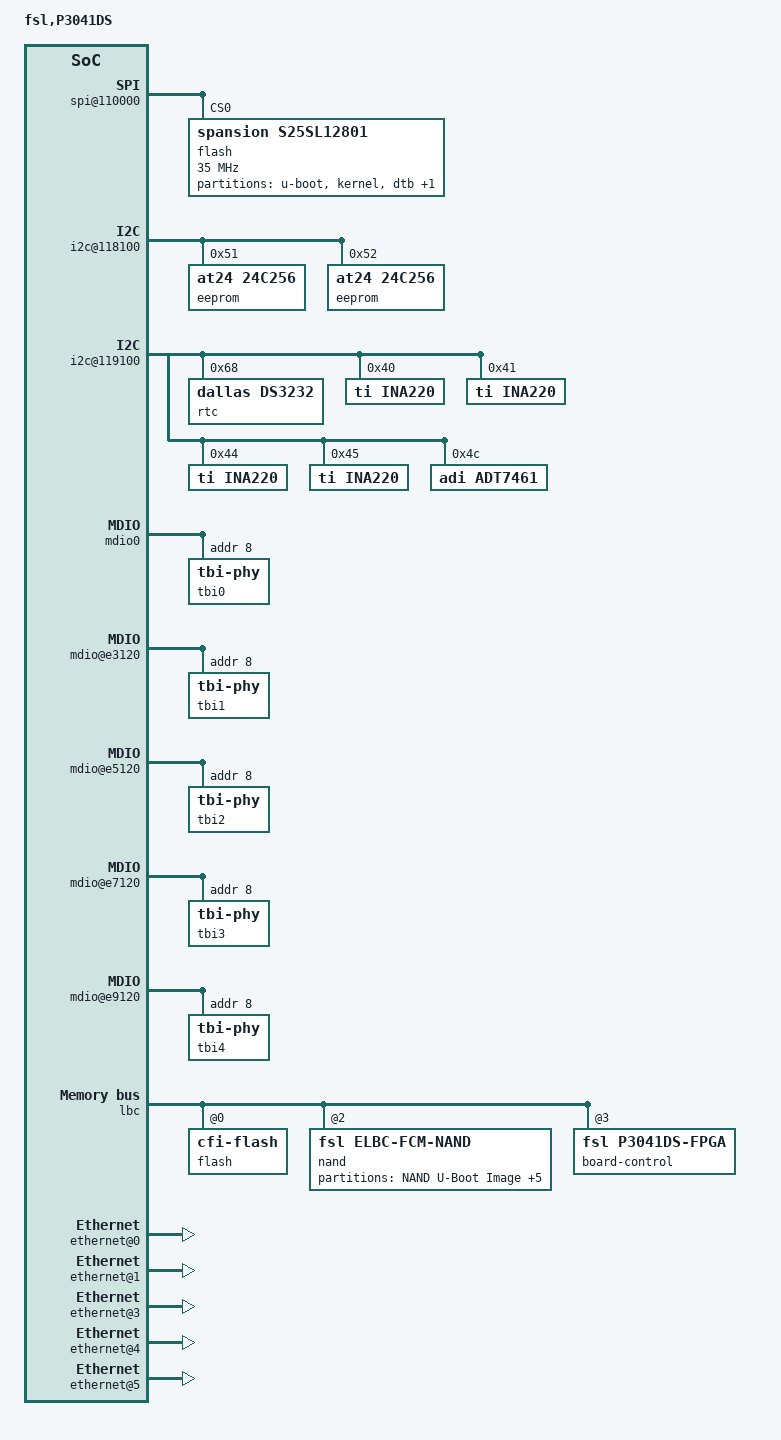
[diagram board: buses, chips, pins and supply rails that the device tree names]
/*
 * P3041DS Device Tree Source
 *
 * Copyright 2010 - 2016 Freescale Semiconductor Inc.
 *
 * Redistribution and use in source and binary forms, with or without
 * modification, are permitted provided that the following conditions are met:
 *     * Redistributions of source code must retain the above copyright
 *	 notice, this list of conditions and the following disclaimer.
 *     * Redistributions in binary form must reproduce the above copyright
 *	 notice, this list of conditions and the following disclaimer in the
 *	 documentation and/or other materials provided with the distribution.
 *     * Neither the name of Freescale Semiconductor nor the
 *	 names of its contributors may be used to endorse or promote products
 *	 derived from this software without specific prior written permission.
 *
 *
 * ALTERNATIVELY, this software may be distributed under the terms of the
 * GNU General Public License ("GPL") as published by the Free Software
 * Foundation, either version 2 of that License or (at your option) any
 * later version.
 *
 * THIS SOFTWARE IS PROVIDED BY Freescale Semiconductor ``AS IS'' AND ANY
 * EXPRESS OR IMPLIED WARRANTIES, INCLUDING, BUT NOT LIMITED TO, THE IMPLIED
 * WARRANTIES OF MERCHANTABILITY AND FITNESS FOR A PARTICULAR PURPOSE ARE
 * DISCLAIMED. IN NO EVENT SHALL Freescale Semiconductor BE LIABLE FOR ANY
 * DIRECT, INDIRECT, INCIDENTAL, SPECIAL, EXEMPLARY, OR CONSEQUENTIAL DAMAGES
 * (INCLUDING, BUT NOT LIMITED TO, PROCUREMENT OF SUBSTITUTE GOODS OR SERVICES;
 * LOSS OF USE, DATA, OR PROFITS; OR BUSINESS INTERRUPTION) HOWEVER CAUSED AND
 * ON ANY THEORY OF LIABILITY, WHETHER IN CONTRACT, STRICT LIABILITY, OR TORT
 * (INCLUDING NEGLIGENCE OR OTHERWISE) ARISING IN ANY WAY OUT OF THE USE OF THIS
 * SOFTWARE, EVEN IF ADVISED OF THE POSSIBILITY OF SUCH DAMAGE.
 */

/include/ "p3041si-pre.dtsi"

/ {
	model = "fsl,P3041DS";
	compatible = "fsl,P3041DS";
	#address-cells = <2>;
	#size-cells = <2>;
	interrupt-parent = <&mpic>;

	aliases {
		ethernet0 = &enet0;
		ethernet1 = &enet1;
		ethernet2 = &enet2;
		ethernet3 = &enet3;
		ethernet4 = &enet4;
		ethernet5 = &enet5;
		phy_rgmii_0 = &phy_rgmii_0;
		phy_rgmii_1 = &phy_rgmii_1;
		phy_sgmii_1c = &phy_sgmii_1c;
		phy_sgmii_1d = &phy_sgmii_1d;
		phy_sgmii_1e = &phy_sgmii_1e;
		phy_sgmii_1f = &phy_sgmii_1f;
		phy_xgmii_1 = &phy_xgmii_1;
		phy_xgmii_2 = &phy_xgmii_2;
		emi1_rgmii = &hydra_mdio_rgmii;
		emi1_sgmii = &hydra_mdio_sgmii;
		emi2_xgmii = &hydra_mdio_xgmii;
	};

	memory {
		device_type = "memory";
	};

	reserved-memory {
		#address-cells = <2>;
		#size-cells = <2>;
		ranges;

		bman_fbpr: bman-fbpr {
			size = <0 0x1000000>;
			alignment = <0 0x1000000>;
		};
		qman_fqd: qman-fqd {
			size = <0 0x800000>;
			alignment = <0 0x800000>;
		};
		qman_pfdr: qman-pfdr {
			size = <0 0x2000000>;
			alignment = <0 0x2000000>;
		};
	};

	dcsr: dcsr@f00000000 {
		ranges = <0x00000000 0xf 0x00000000 0x01008000>;
	};

	bportals: bman-portals@ff4000000 {
		ranges = <0x0 0xf 0xf4000000 0x200000>;
	};

	qportals: qman-portals@ff4200000 {
		ranges = <0x0 0xf 0xf4200000 0x200000>;
	};

	soc: soc@ffe000000 {
		ranges = <0x00000000 0xf 0xfe000000 0x1000000>;
		reg = <0xf 0xfe000000 0 0x00001000>;
		spi@110000 {
			flash@0 {
				#address-cells = <1>;
				#size-cells = <1>;
				compatible = "spansion,s25sl12801", "jedec,spi-nor";
				reg = <0>;
				spi-max-frequency = <35000000>; /* input clock */
				partition@u-boot {
					label = "u-boot";
					reg = <0x00000000 0x00100000>;
					read-only;
				};
				partition@kernel {
					label = "kernel";
					reg = <0x00100000 0x00500000>;
					read-only;
				};
				partition@dtb {
					label = "dtb";
					reg = <0x00600000 0x00100000>;
					read-only;
				};
				partition@fs {
					label = "file system";
					reg = <0x00700000 0x00900000>;
				};
			};
		};

		i2c@118100 {
			eeprom@51 {
				compatible = "at24,24c256";
				reg = <0x51>;
			};
			eeprom@52 {
				compatible = "at24,24c256";
				reg = <0x52>;
			};
		};

		i2c@119100 {
			rtc@68 {
				compatible = "dallas,ds3232";
				reg = <0x68>;
				interrupts = <0x1 0x1 0 0>;
			};
			ina220@40 {
				compatible = "ti,ina220";
				reg = <0x40>;
				shunt-resistor = <1000>;
			};
			ina220@41 {
				compatible = "ti,ina220";
				reg = <0x41>;
				shunt-resistor = <1000>;
			};
			ina220@44 {
				compatible = "ti,ina220";
				reg = <0x44>;
				shunt-resistor = <1000>;
			};
			ina220@45 {
				compatible = "ti,ina220";
				reg = <0x45>;
				shunt-resistor = <1000>;
			};
			adt7461@4c {
				compatible = "adi,adt7461";
				reg = <0x4c>;
			};
		};

		fman0: fman@400000 {
			enet0: ethernet@e0000 {
				tbi-handle = <&tbi0>;
				phy-handle = <&phy_sgmii_1c>;
				phy-connection-type = "sgmii";
			};

			mdio0: mdio@e1120 {
				tbi0: tbi-phy@8 {
					reg = <0x8>;
					device_type = "tbi-phy";
				};
			};

			enet1: ethernet@e2000 {
				tbi-handle = <&tbi1>;
				phy-handle = <&phy_sgmii_1d>;
				phy-connection-type = "sgmii";
			};

			mdio@e3120 {
				tbi1: tbi-phy@8 {
					reg = <8>;
					device_type = "tbi-phy";
				};
			};

			enet2: ethernet@e4000 {
				tbi-handle = <&tbi2>;
				phy-handle = <&phy_sgmii_1e>;
				phy-connection-type = "sgmii";
			};

			mdio@e5120 {
				tbi2: tbi-phy@8 {
					reg = <8>;
					device_type = "tbi-phy";
				};
			};

			enet3: ethernet@e6000 {
				tbi-handle = <&tbi3>;
				phy-handle = <&phy_sgmii_1f>;
				phy-connection-type = "sgmii";
			};

			mdio@e7120 {
				#address-cells = <1>;
				#size-cells = <0>;
				compatible = "fsl,fman-tbi";
				reg = <0xe7120 0xee0>;
				interrupts = <100 1 0 0>;

				tbi3: tbi-phy@8 {
					reg = <8>;
					device_type = "tbi-phy";
				};
			};

			enet4: ethernet@e8000 {
				tbi-handle = <&tbi4>;
				phy-handle = <&phy_rgmii_1>;
				phy-connection-type = "rgmii";
			};

			mdio@e9120 {
				tbi4: tbi-phy@8 {
					reg = <8>;
					device_type = "tbi-phy";
				};
			};

			enet5: ethernet@f0000 {
				/*
				 * phy-handle will be updated by U-Boot to
				 * reflect the actual slot the XAUI card is in.
				 */
				phy-handle = <&phy_xgmii_1>;
				phy-connection-type = "xgmii";
			};

			/*
			 * We only support one XAUI card, so the MDIO muxing
			 * is set by U-Boot, and Linux never touches it.
			 * Therefore, we don't need a virtual MDIO node.
			 * However, the phy address depends on the slot, so
			 * only one of the ethernet-phy nodes below will be
			 * used.
			 */
			hydra_mdio_xgmii: mdio@f1000 {
				status = "disabled";

				/* XAUI card in slot 1 */
				phy_xgmii_1: ethernet-phy@4 {
					compatible = "ethernet-phy-ieee802.3-c45";
					reg = <0x4>;
				};

				/* XAUI card in slot 2 */
				phy_xgmii_2: ethernet-phy@0 {
					compatible = "ethernet-phy-ieee802.3-c45";
					reg = <0x0>;
				};
			};
		};
	};

	rio: rapidio@ffe0c0000 {
		reg = <0xf 0xfe0c0000 0 0x11000>;

		port1 {
			ranges = <0 0 0xc 0x20000000 0 0x10000000>;
		};
		port2 {
			ranges = <0 0 0xc 0x30000000 0 0x10000000>;
		};
	};

	lbc: localbus@ffe124000 {
		reg = <0xf 0xfe124000 0 0x1000>;
		ranges = <0 0 0xf 0xe8000000 0x08000000
			  2 0 0xf 0xffa00000 0x00040000
			  3 0 0xf 0xffdf0000 0x00008000>;

		flash@0,0 {
			compatible = "cfi-flash";
			reg = <0 0 0x08000000>;
			bank-width = <2>;
			device-width = <2>;
		};

		nand@2,0 {
			#address-cells = <1>;
			#size-cells = <1>;
			compatible = "fsl,elbc-fcm-nand";
			reg = <0x2 0x0 0x40000>;

			partition@0 {
				label = "NAND U-Boot Image";
				reg = <0x0 0x02000000>;
				read-only;
			};

			partition@2000000 {
				label = "NAND Root File System";
				reg = <0x02000000 0x10000000>;
			};

			partition@12000000 {
				label = "NAND Compressed RFS Image";
				reg = <0x12000000 0x08000000>;
			};

			partition@1a000000 {
				label = "NAND Linux Kernel Image";
				reg = <0x1a000000 0x04000000>;
			};

			partition@1e000000 {
				label = "NAND DTB Image";
				reg = <0x1e000000 0x01000000>;
			};

			partition@1f000000 {
				label = "NAND Writable User area";
				reg = <0x1f000000 0x21000000>;
			};
		};

		board-control@3,0 {
			#address-cells = <1>;
			#size-cells = <1>;
			compatible = "fsl,p3041ds-fpga", "fsl,fpga-ngpixis";
			reg = <3 0 0x30>;
			ranges = <0 3 0 0x30>;

			mdio-mux-emi1 {
				compatible = "mdio-mux-mmioreg", "mdio-mux";
				mdio-parent-bus = <&mdio0>;
				#address-cells = <1>;
				#size-cells = <0>;
				reg = <9 1>; // BRDCFG1
				mux-mask = <0x78>; // EMI1

				/*
				 * Virtual MDIO for the two on-board RGMII
				 * ports.  The reg property is already correct.
				 */
				hydra_mdio_rgmii: rgmii-mdio@8 {
					status = "disabled";
					reg = <8>; /* EMI1_EN | 0 */
					#address-cells = <1>;
					#size-cells = <0>;

					phy_rgmii_0: ethernet-phy@0 {
						reg = <0x0>;
					};
					phy_rgmii_1: ethernet-phy@1 {
						reg = <0x1>;
					};
				};
				/*
				 * Virtual MDIO for the four-port SGMII card.
				 * The reg property will be fixed-up
				 * by U-Boot based on the slot that
				 * the SGMII card is in.
				 *
				 * Note: we do not support DTSEC5 connected to
				 * SGMII, so this is the only SGMII node.
				 */
				hydra_mdio_sgmii: sgmii-mdio@28 {
					reg = <0x28>; /* EMI1_EN | 0x20 */
					#address-cells = <1>;
					#size-cells = <0>;
					status = "disabled";

					phy_sgmii_1c: ethernet-phy@1c {
						reg = <0x1c>;
					};
					phy_sgmii_1d: ethernet-phy@1d {
						reg = <0x1d>;
					};
					phy_sgmii_1e: ethernet-phy@1e {
						reg = <0x1e>;
					};
					phy_sgmii_1f: ethernet-phy@1f {
						reg = <0x1f>;
					};
				};
			};
		};
	};

	pci0: pcie@ffe200000 {
		reg = <0xf 0xfe200000 0 0x1000>;
		ranges = <0x02000000 0 0xe0000000 0xc 0x00000000 0x0 0x20000000
			  0x01000000 0 0x00000000 0xf 0xf8000000 0x0 0x00010000>;
		pcie@0 {
			ranges = <0x02000000 0 0xe0000000
				  0x02000000 0 0xe0000000
				  0 0x20000000

				  0x01000000 0 0x00000000
				  0x01000000 0 0x00000000
				  0 0x00010000>;
		};
	};

	pci1: pcie@ffe201000 {
		reg = <0xf 0xfe201000 0 0x1000>;
		ranges = <0x02000000 0x0 0xe0000000 0xc 0x20000000 0x0 0x20000000
			  0x01000000 0x0 0x00000000 0xf 0xf8010000 0x0 0x00010000>;
		pcie@0 {
			ranges = <0x02000000 0 0xe0000000
				  0x02000000 0 0xe0000000
				  0 0x20000000

				  0x01000000 0 0x00000000
				  0x01000000 0 0x00000000
				  0 0x00010000>;
		};
	};

	pci2: pcie@ffe202000 {
		reg = <0xf 0xfe202000 0 0x1000>;
		ranges = <0x02000000 0 0xe0000000 0xc 0x40000000 0 0x20000000
			  0x01000000 0 0x00000000 0xf 0xf8020000 0 0x00010000>;
		pcie@0 {
			ranges = <0x02000000 0 0xe0000000
				  0x02000000 0 0xe0000000
				  0 0x20000000

				  0x01000000 0 0x00000000
				  0x01000000 0 0x00000000
				  0 0x00010000>;
		};
	};

	pci3: pcie@ffe203000 {
		reg = <0xf 0xfe203000 0 0x1000>;
		ranges = <0x02000000 0 0xe0000000 0xc 0x60000000 0 0x20000000
			  0x01000000 0 0x00000000 0xf 0xf8030000 0 0x00010000>;
		pcie@0 {
			ranges = <0x02000000 0 0xe0000000
				  0x02000000 0 0xe0000000
				  0 0x20000000

				  0x01000000 0 0x00000000
				  0x01000000 0 0x00000000
				  0 0x00010000>;
		};
	};

	fsl,dpaa {
		compatible = "fsl,p3041-dpaa", "fsl,dpaa";

		ethernet@0 {
			compatible = "fsl,p3041-dpa-ethernet", "fsl,dpa-ethernet";
			fsl,fman-mac = <&enet0>;
		};
		ethernet@1 {
			compatible = "fsl,p3041-dpa-ethernet", "fsl,dpa-ethernet";
			fsl,fman-mac = <&enet1>;
		};
		ethernet@2 {
			compatible = "fsl,p3041-dpa-ethernet", "fsl,dpa-ethernet";
			fsl,fman-mac = <&enet2>;
			status = "disabled";
		};
		ethernet@3 {
			compatible = "fsl,p3041-dpa-ethernet", "fsl,dpa-ethernet";
			fsl,fman-mac = <&enet3>;
		};
		ethernet@4 {
			compatible = "fsl,p3041-dpa-ethernet", "fsl,dpa-ethernet";
			fsl,fman-mac = <&enet4>;
		};
		ethernet@5 {
			compatible = "fsl,p3041-dpa-ethernet", "fsl,dpa-ethernet";
			fsl,fman-mac = <&enet5>;
		};
	};
};

/include/ "p3041si-post.dtsi"
/include/ "qoriq-dpaa-res1.dtsi"
